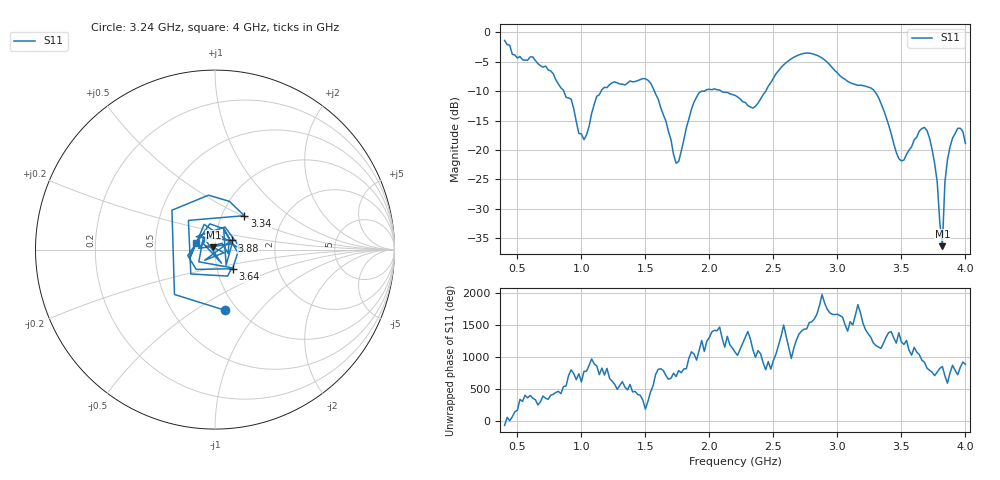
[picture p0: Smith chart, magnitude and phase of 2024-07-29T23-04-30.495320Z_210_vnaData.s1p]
!Created with skrf (http://scikit-rf.org).
# Hz S RI R 50.0
!freq ReS11 ImS11
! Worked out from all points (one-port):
!   181 points, 400 MHz to 4 GHz, reference 50 ohm
!   lowest |S11| = -36.4 dB at 3.82 GHz (marker M1), VSWR 1.03, Z = 49.1 + j1.18 ohm
!   |S11| at or under -10 dB: 1.57 GHz to 1.94 GHz (369.3 MHz wide, 21 % of centre); 2.092 GHz to 2.441 GHz (348.5 MHz wide, 15.4 % of centre); 3.289 GHz to end of sweep (the widest 3 of 5)
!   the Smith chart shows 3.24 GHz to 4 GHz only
!   S11 on the Smith chart (normalised r, x): 3.24 GHz: 0.88, -0.67; 3.34 GHz: 1.27, +0.51; 3.64 GHz: 1.19, -0.26; 3.88 GHz: 1.20, +0.12; 4 GHz: 0.80, +0.06
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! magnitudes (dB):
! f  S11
! 400 MHz  -1.4
! 860 MHz  -9.9
! 920 MHz  -11.4
! 980 MHz  -17.2
! 1.02 GHz  -18.3
! 1.12 GHz  -10.9
! 1.3 GHz  -8.8
! 1.54 GHz  -8.6
! 1.76 GHz  -22.0
! 1.92 GHz  -10.3
! 2.2 GHz  -10.7
! 2.34 GHz  -12.9
! 2.66 GHz  -4.2
! 2.86 GHz  -4.1
! 3.1 GHz  -8.6
! 3.24 GHz  -9.3
! 3.34 GHz  -12.1
! 3.48 GHz  -21.5
! 3.56 GHz  -20.0
! 3.64 GHz  -16.8
! 3.7 GHz  -16.7
! 3.74 GHz  -20.0
! 3.78 GHz  -25.5
! 3.82 GHz  -36.4
! 3.84 GHz  -25.5
! 3.88 GHz  -19.5
! 3.94 GHz  -16.3
! 4 GHz  -18.9
